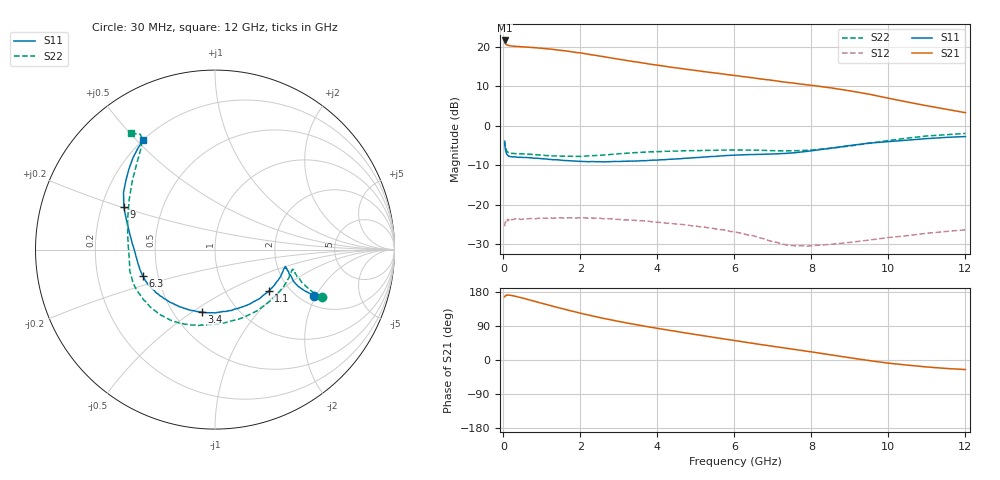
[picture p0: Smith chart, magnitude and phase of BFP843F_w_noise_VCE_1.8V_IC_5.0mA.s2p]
! Infineon Technologies  Discrete & RF Semiconductors
! BFP843F
! VCE =  1.8 V,  IC =  5.0 mA
! Common Emitter S-Parameters:  Aug 2013
# GHz  S  MA  R  50
!  f  S11  S21  S12  S22
! GHz  MAG  ANG  MAG  ANG  MAG  ANG  MAG  ANG
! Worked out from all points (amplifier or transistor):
!   103 points, 30 MHz to 12 GHz, reference 50 ohm
!   highest |S21| = 21.6 dB at 30 MHz (marker M1)
!   |S21| within 3 dB of that: start of sweep to 1.857 GHz
!   unconditionally stable (mu >= 1): 165.9 MHz to 582.7 MHz; 3.668 GHz to end of sweep
!   at 400 MHz: K = 1.00, MAG = 21.5 dB, |S12| = -23.6 dB
!   at 3.7 GHz: K = 1.00, MAG = 19.6 dB, |S12| = -24.2 dB
!   at 12 GHz: K = 1.46, MAG = 10.8 dB, |S12| = -26.4 dB
!   lowest NFmin = 0.82 dB at 450 MHz
!   S11 on the Smith chart (normalised r, x): 30 MHz: 2.36, -1.93; 1.1 GHz: 1.57, -0.85; 3.4 GHz: 0.69, -0.55; 6.3 GHz: 0.41, -0.15; 9 GHz: 0.29, +0.20; 12 GHz: 0.20, +0.52
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0.03  0.6089 -25.0  12.02 166.8  0.0529 35.7  0.6524 -23.9
0.04  0.5429 -24.6  11.46 167.3  0.0577 27.4  0.5862 -23.3
0.05  0.5031 -23.7  11.01 169.6  0.06 18.6  0.547 -22.0
0.07  0.4563 -20.1  10.69 170.6  0.0623 19.0  0.5001 -19.2
0.15  0.4093 -14.5  10.37 171.3  0.062 8.9  0.4508 -14.3
0.8  0.3868 -28.5  9.763 155.1  0.0658 -0.1  0.429 -32.7
1.1  0.3785 -37.9  9.454 147.0  0.067 -1.8  0.4186 -44.2
1.3  0.3697 -44.3  9.259 141.4  0.0672 -2.9  0.4134 -52.1
1.6  0.3613 -53.7  8.897 133.6  0.0675 -5.1  0.4096 -63.7
2.1  0.3518 -68.9  8.208 121.1  0.0681 -8.2  0.4114 -82.0
2.7  0.3492 -85.3  7.345 107.8  0.0663 -11.8  0.4265 -100.1
3.4  0.3559 -102.0  6.465 94.2  0.0635 -15.8  0.455 -115.9
4.1  0.3695 -117.8  5.754 81.8  0.0591 -19.9  0.4696 -127.8
5.1  0.3961 -138.5  4.933 65.5  0.0522 -23.7  0.4831 -143.2
6.1  0.4253 -156.4  4.273 49.9  0.0441 -26.2  0.4918 -158.1
6.3  0.429 -160.0  4.148 46.7  0.0418 -26.5  0.4897 -161.2
7.5  0.4517 179.3  3.482 28.8  0.0303 -12.9  0.4814 -179.6
8.5  0.5181 161.9  3.016 13.7  0.0313 4.5  0.5159 160.6
9  0.5606 155.0  2.763 5.9  0.0332 9.5  0.5528 149.9
10  0.6283 142.2  2.229 -8.3  0.0382 17.1  0.6477 132.3
10.5  0.6559 137.1  1.99 -13.6  0.0404 18.8  0.6966 126.4
12  0.7283 123.3  1.461 -25.2  0.0479 24.3  0.7975 125.7
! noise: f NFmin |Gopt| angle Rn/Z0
0.45  0.82  0.16  11  0.06
0.9  0.84  0.16  21  0.06
1.5  0.9  0.16  29  0.07
1.9  0.95  0.15  45  0.07
2.4  0.99  0.15  57  0.08
3.5  1.06  0.17  86  0.13
5.5  1.18  0.17  152  0.19
10  1.9  0.38  -124  0.23
